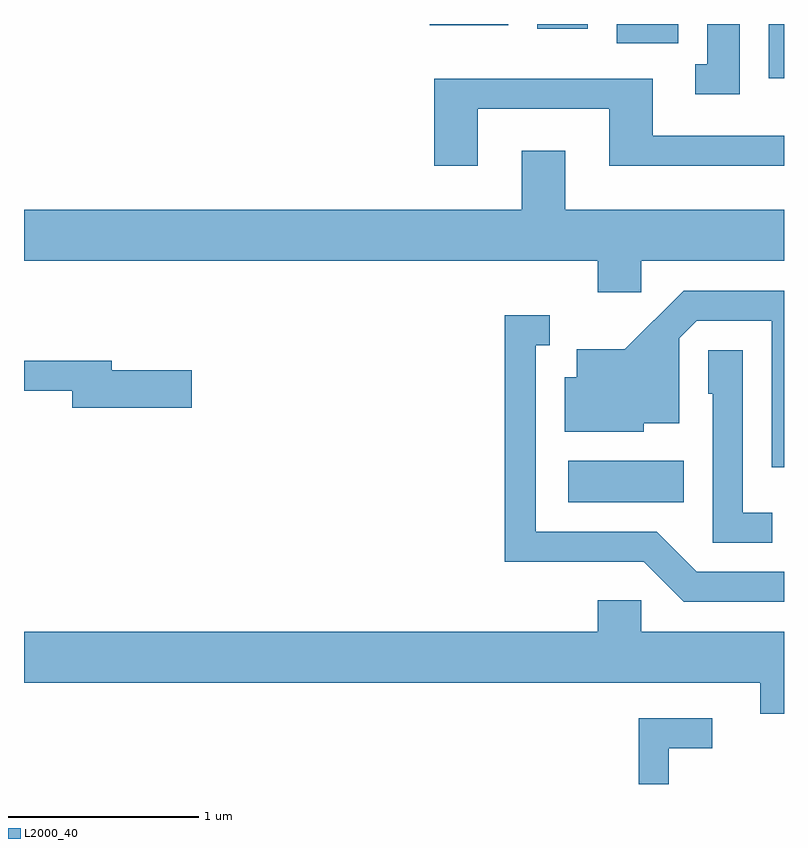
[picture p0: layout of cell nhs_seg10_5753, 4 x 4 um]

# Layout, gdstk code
import gdstk
lib = gdstk.Library(unit=1e-6, precision=1e-09)
def R(c, l, rs):  # rectangles x0, y0, x1, y1
    for r in rs: c.add(gdstk.rectangle(r[:2], r[2:], *l))
def P(c, l, *ps):  # polygons
    for p in ps: c.add(gdstk.Polygon(p, *l))
L2000_40 = (2000, 40)

nhs_seg10_5753 = lib.new_cell('nhs_seg10_5753')
R(nhs_seg10_5753, L2000_40, [(358.476,2086.006,359.084,2086.224), (359.531,2088.236,359.611,2088.522), (358.731,2088.421,359.054,2088.522), (358.311,2088.496,358.579,2088.522), (357.746,2088.516,358.159,2088.522)])
P(nhs_seg10_5753, L2000_40, [(359.379,2088.522),(359.206,2088.522),(359.206,2088.309),(359.143,2088.309),(359.143,2088.151),(359.379,2088.151)],
  [(357.999,2088.076),(358.691,2088.076),(358.691,2087.776),(359.611,2087.776),(359.611,2087.934),(358.919,2087.934),(358.919,2088.234),(357.771,2088.234),(357.771,2087.776),(357.999,2087.776)],
  [(358.859,2087.276),(359.611,2087.276),(359.611,2087.544),(358.459,2087.544),(358.459,2087.854),(358.231,2087.854),(358.231,2087.544),(355.611,2087.544),(355.611,2087.276),(358.631,2087.276),(358.631,2087.111),(358.859,2087.111)],
  [(359.611,2087.119),(359.084,2087.119),(358.774,2086.809),(358.521,2086.809),(358.521,2086.664),(358.456,2086.664),(358.456,2086.376),(358.874,2086.376),(358.874,2086.421),(359.059,2086.421),(359.059,2086.869),(359.152,2086.961),(359.546,2086.961),(359.546,2086.188),(359.611,2086.188)],
  [(359.611,2085.639),(359.152,2085.639),(358.942,2085.849),(358.304,2085.849),(358.304,2086.831),(358.378,2086.831),(358.378,2086.989),(358.141,2086.989),(358.141,2085.691),(358.874,2085.691),(359.084,2085.481),(359.611,2085.481)],
  [(359.548,2085.949),(359.394,2085.949),(359.394,2086.804),(359.211,2086.804),(359.211,2086.576),(359.236,2086.576),(359.236,2085.791),(359.548,2085.791)],
  [(356.494,2086.699),(356.074,2086.699),(356.074,2086.749),(355.611,2086.749),(355.611,2086.591),(355.866,2086.591),(355.866,2086.501),(356.494,2086.501)],
  [(359.611,2085.324),(358.859,2085.324),(358.859,2085.489),(358.631,2085.489),(358.631,2085.324),(355.611,2085.324),(355.611,2085.056),(359.486,2085.056),(359.486,2084.891),(359.611,2084.891)],
  [(359.004,2084.711),(359.233,2084.711),(359.233,2084.869),(358.846,2084.869),(358.846,2084.522),(359.004,2084.522)])

lib.write_gds('nhs_seg10_5753.gds')
